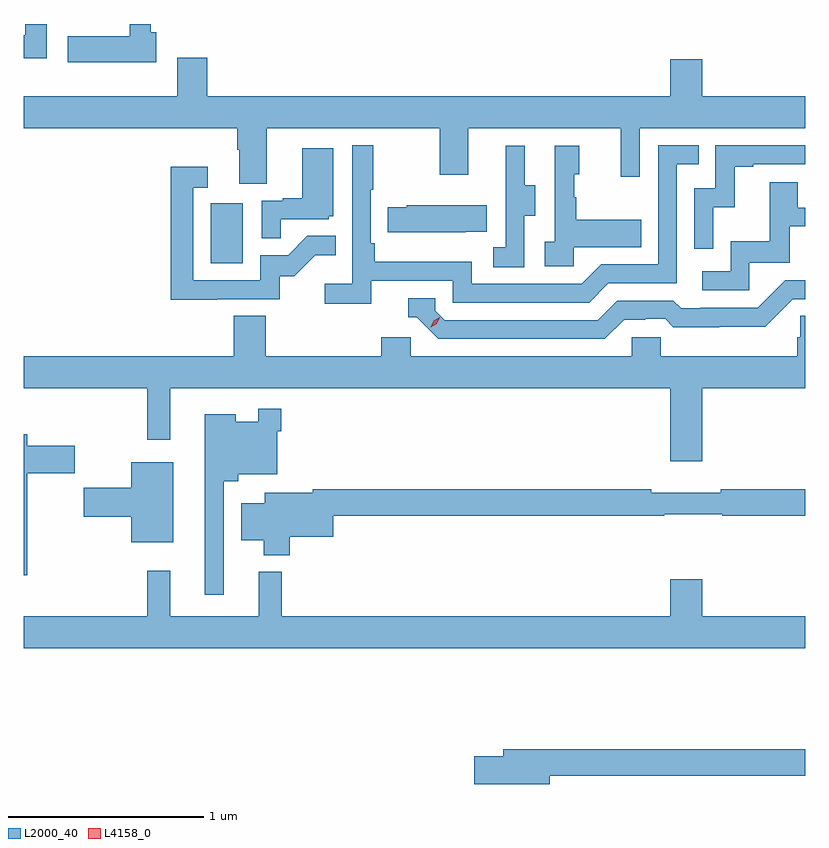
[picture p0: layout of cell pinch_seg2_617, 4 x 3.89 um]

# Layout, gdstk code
import gdstk
lib = gdstk.Library(unit=1e-6, precision=1e-09)
def R(c, l, rs):  # rectangles x0, y0, x1, y1
    for r in rs: c.add(gdstk.rectangle(r[:2], r[2:], *l))
def P(c, l, *ps):  # polygons
    for p in ps: c.add(gdstk.Polygon(p, *l))
L2000_40 = (2000, 40)
L4158_0 = (4158, 0)

pinch_seg2_617 = lib.new_cell('pinch_seg2_617')
R(pinch_seg2_617, L2000_40, [(1037.78,608.316,1037.944,608.623)])
P(pinch_seg2_617, L2000_40, [(1037.5,609.498),(1037.473,609.498),(1037.473,609.541),(1037.366,609.541),(1037.366,609.478),(1037.049,609.478),(1037.049,609.344),(1037.5,609.344)],
  [(1036.939,609.541),(1036.829,609.541),(1036.829,609.484),(1036.823,609.484),(1036.823,609.366),(1036.939,609.366)],
  [(1037.609,609.367),(1037.609,609.172),(1036.823,609.172),(1036.823,609.008),(1037.915,609.008),(1037.915,608.896),(1037.927,608.896),(1037.927,608.722),(1038.067,608.722),(1038.067,609.008),(1038.952,609.008),(1038.952,608.769),(1039.099,608.769),(1039.099,609.008),(1039.88,609.008),(1039.88,608.76),(1039.977,608.76),(1039.977,609.008),(1040.823,609.008),(1040.823,609.172),(1040.296,609.172),(1040.296,609.361),(1040.132,609.361),(1040.132,609.172),(1037.762,609.172),(1037.762,609.367)],
  [(1038.602,608.226),(1039.02,608.226),(1039.02,608.115),(1039.717,608.115),(1039.816,608.214),(1040.166,608.214),(1040.166,608.823),(1040.279,608.823),(1040.279,608.919),(1040.07,608.919),(1040.07,608.31),(1039.779,608.31),(1039.68,608.211),(1039.116,608.211),(1039.116,608.323),(1038.62,608.323),(1038.62,608.419),(1038.6,608.419),(1038.6,608.692),(1038.613,608.692),(1038.613,608.92),(1038.504,608.92),(1038.504,608.212),(1038.363,608.212),(1038.363,608.11),(1038.602,608.11)],
  [(1040.352,608.603),(1040.462,608.603),(1040.462,608.811),(1040.557,608.811),(1040.557,608.823),(1040.823,608.823),(1040.823,608.919),(1040.364,608.919),(1040.364,608.7),(1040.256,608.7),(1040.256,608.391),(1040.352,608.391)],
  [(1039.638,608.399),(1039.985,608.399),(1039.985,608.539),(1039.651,608.539),(1039.651,608.654),(1039.641,608.654),(1039.641,608.772),(1039.666,608.772),(1039.666,608.917),(1039.542,608.917),(1039.542,608.426),(1039.491,608.426),(1039.491,608.301),(1039.638,608.301)],
  [(1039.386,608.56),(1039.441,608.56),(1039.441,608.715),(1039.387,608.715),(1039.387,608.917),(1039.289,608.917),(1039.289,608.703),(1039.29,608.703),(1039.29,608.399),(1039.227,608.399),(1039.227,608.296),(1039.386,608.296)],
  [(1038.137,608.541),(1038.384,608.541),(1038.384,608.556),(1038.406,608.556),(1038.406,608.905),(1038.248,608.905),(1038.248,608.65),(1038.149,608.65),(1038.149,608.637),(1038.042,608.637),(1038.042,608.443),(1038.137,608.443)],
  [(1037.813,608.133),(1038.132,608.133),(1038.132,608.25),(1038.208,608.25),(1038.315,608.357),(1038.419,608.357),(1038.419,608.456),(1038.275,608.456),(1038.177,608.358),(1038.033,608.358),(1038.033,608.229),(1037.691,608.229),(1037.691,608.703),(1037.764,608.703),(1037.764,608.809),(1037.575,608.809),(1037.575,608.128),(1037.813,608.128)],
  [(1040.538,608.319),(1040.743,608.319),(1040.743,608.505),(1040.823,608.505),(1040.823,608.601),(1040.785,608.601),(1040.785,608.731),(1040.641,608.731),(1040.641,608.428),(1040.442,608.428),(1040.442,608.274),(1040.295,608.274),(1040.295,608.178),(1040.538,608.178)],
  [(1039.085,608.477),(1039.193,608.477),(1039.193,608.614),(1038.783,608.614),(1038.783,608.604),(1038.685,608.604),(1038.685,608.474),(1039.085,608.474)],
  [(1039.897,608.028),(1040.004,608.028),(1040.004,608.031),(1040.107,608.031),(1040.149,607.989),(1040.382,607.989),(1040.382,607.991),(1040.618,607.991),(1040.76,608.133),(1040.823,608.133),(1040.823,608.229),(1040.721,608.229),(1040.58,608.088),(1040.287,608.088),(1040.287,608.085),(1040.188,608.085),(1040.149,608.124),(1039.86,608.124),(1039.761,608.025),(1038.978,608.025),(1038.93,608.073),(1038.93,608.136),(1038.791,608.136),(1038.791,608.04),(1038.834,608.04),(1038.945,607.929),(1039.798,607.929)],
  [(1040.296,607.676),(1040.823,607.676),(1040.823,608.048),(1040.797,608.048),(1040.797,607.938),(1040.783,607.938),(1040.783,607.84),(1040.085,607.84),(1040.085,607.938),(1039.935,607.938),(1039.935,607.84),(1038.804,607.84),(1038.804,607.938),(1038.653,607.938),(1038.653,607.84),(1038.062,607.84),(1038.062,608.048),(1037.897,608.048),(1037.897,607.84),(1036.823,607.84),(1036.823,607.676),(1037.455,607.676),(1037.455,607.413),(1037.572,607.413),(1037.572,607.676),(1040.132,607.676),(1040.132,607.302),(1040.296,607.302)],
  [(1037.847,607.199),(1037.921,607.199),(1037.921,607.235),(1038.12,607.235),(1038.12,607.457),(1038.14,607.457),(1038.14,607.57),(1038.024,607.57),(1038.024,607.504),(1037.908,607.504),(1037.908,607.543),(1037.75,607.543),(1037.75,606.618),(1037.847,606.618)],
  [(1036.84,607.241),(1037.083,607.241),(1037.083,607.383),(1036.84,607.383),(1036.84,607.441),(1036.823,607.441),(1036.823,606.72),(1036.84,606.72)],
  [(1037.587,607.297),(1037.372,607.297),(1037.372,607.166),(1037.13,607.166),(1037.13,607.019),(1037.372,607.019),(1037.372,606.887),(1037.587,606.887)],
  [(1038.185,606.917),(1038.406,606.917),(1038.406,607.024),(1040.102,607.024),(1040.102,607.032),(1040.399,607.032),(1040.399,607.024),(1040.823,607.024),(1040.823,607.16),(1040.392,607.16),(1040.392,607.141),(1040.036,607.141),(1040.036,607.16),(1038.302,607.16),(1038.302,607.141),(1038.056,607.141),(1038.056,607.087),(1037.936,607.087),(1037.936,606.899),(1038.05,606.899),(1038.05,606.821),(1038.185,606.821)],
  [(1040.823,606.508),(1040.296,606.508),(1040.296,606.697),(1040.132,606.697),(1040.132,606.508),(1038.143,606.508),(1038.143,606.736),(1038.026,606.736),(1038.026,606.508),(1037.573,606.508),(1037.573,606.742),(1037.455,606.742),(1037.455,606.508),(1036.823,606.508),(1036.823,606.344),(1040.823,606.344)],
  [(1039.516,605.692),(1040.823,605.692),(1040.823,605.828),(1039.277,605.828),(1039.277,605.792),(1039.128,605.792),(1039.128,605.65),(1039.516,605.65)])
P(pinch_seg2_617, L4158_0, [(1038.906,607.988),(1038.906,607.988),(1038.922,608.021),(1038.952,608.04),(1038.953,608.04),(1038.953,608.04),(1038.936,608.007),(1038.906,607.988)])

lib.write_gds('pinch_seg2_617.gds')
